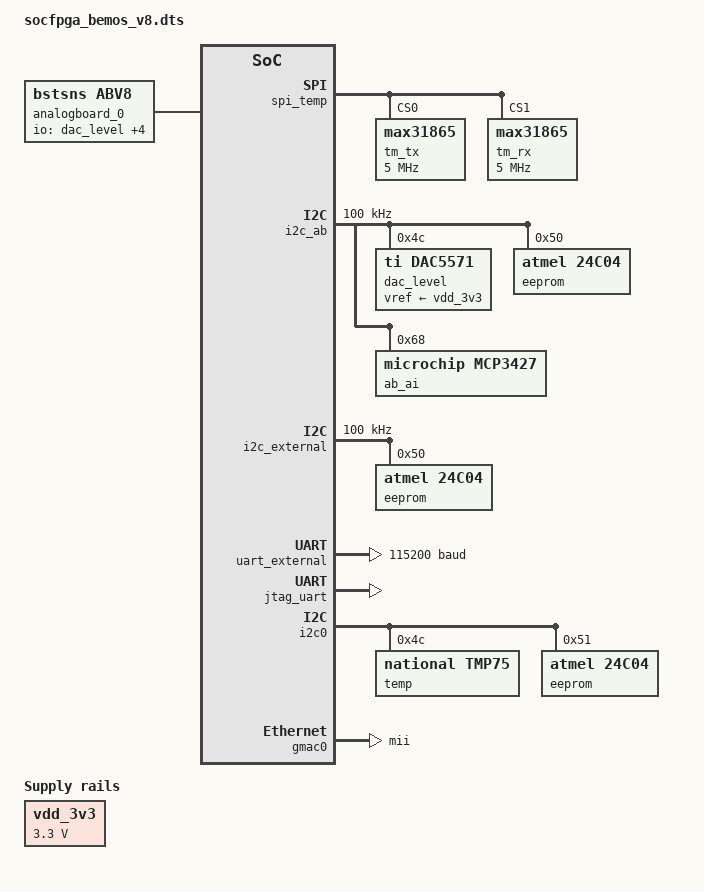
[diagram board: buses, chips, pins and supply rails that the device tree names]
/include/ "socfpga_cyclone5.dts"

/ {
	leds {
		status = "disabled";
	};
	
	soc {
		vdd_3v3: fixedregulator@0 {
			compatible = "regulator-fixed";
			regulator-name = "vdd_3v3";
			regulator-min-microvolt = <3300000>;
			regulator-max-microvolt = <3300000>;
			regulator-always-on;
		};
		
		clocks {
			bone_20: bone_20 {
				compatible = "fixed-clock";
				#clock-cells = <0>;
				clock-frequency = <20000000>;
			};

			bone_50: bone_50 {
				compatible = "fixed-clock";
				#clock-cells = <0>;
				clock-frequency = <50000000>;
			};
		};
		
		spi_temp: spi@ff201060 {
			compatible = "altr,spi-15.1", "altr,spi-1.0";
			reg = <0xff201060 0x20>;
			interrupt-parent = <&intc>;
			interrupts = <0 53 4>;
			clocks = <&bone_20>;
			#address-cells = <1>;
			#size-cells = <0>;
			bus-num = <0>;
			num-chipselect = <2>;
			status = "okay";

			tm_tx: max31865@0 {
				compatible = "max31865";
				reg = <0>;	/* chip select */
				spi-max-frequency = <5000000>;
				enable-dma = <1>;
				#io-channel-cells = <0>;
			};
			
			tm_rx: max31865@1 {
				compatible = "max31865";
				reg = <1>;	/* chip select */
				spi-max-frequency = <5000000>;
				enable-dma = <1>;
				#io-channel-cells = <0>;
			};
		};
		
		analogboard_0: bemos {
			compatible = "bstsns,abv8";

			i2c-external = <&i2c_external>;
			i2c-ab = <&i2c_ab>;

			io-channels = <&dac_level>,
						  <&tm_tx>,
						  <&tm_rx>,
						  <&ab_ai 0>,
						  <&ab_ai 1>;

			io-channel-names = "level",
							   "tm_tx",
							   "tm_rx",
							   "ai0",
							   "ai1";
			
			interrupt-parent = <&intc>;			
			interrupts = <0 41 4>, /* connected */
						 <0 42 4>, /* ks0 */
						 <0 45 4>, /* fifo0 */
						 <0 46 4>, /* fifo1 */
						 <0 47 4>, /* fifo2 */
						 <0 48 4>, /* fifo3 */
						 <0 56 4>, /* ae_dtc */
						 <0 57 4>, /* trigger_in */
						 <0 44 4>; /* ab_pio */
		}; //end bemos (analogboard_0)
		
		i2c_ab: i2c@ff2c0040 {
			compatible = "altr,softip-i2c-v1.0";
			reg = <0xff2c0040 0x40>;
			interrupt-parent = <&intc>;
			interrupts = <0 51 4>;
			clocks = <&bone_50>;
			fifo-size = <4>;
			clock-frequency = <100000>;
			#address-cells = <1>;
			#size-cells = <0>;
			
			dac_level: dac5571@4c {
				compatible = "ti,dac5571";
				reg = <0x4c>;
				vref-supply = <&vdd_3v3>;
				#io-channel-cells = <0>;
			};
			
			eeprom@50 {
				compatible = "atmel,24c04";
				reg = <0x50>;
				pagesize = <16>;
			};
			
			ab_ai: mcp3427@68 {
				compatible = "microchip,mcp3427";
				reg = <0x68>;
				#io-channel-cells = <1>;
			};
		};

		i2c_external: i2c@ff2c0000 {
			compatible = "altr,softip-i2c-v1.0";
			reg = <0xff2c0000 0x40>;
			interrupt-parent = <&intc>;
			interrupts = <0 50 4>;
			clocks = <&bone_50>;
			fifo-size = <4>;
			clock-frequency = <100000>;
			#address-cells = <1>;
			#size-cells = <0>;

			eeprom@50 {
				compatible = "atmel,24c04";
				reg = <0x50>;
				pagesize = <16>;
			};
		};
		
		uart_external: serial@ff290000 {
			compatible = "ALTR,uart-1.0", "altr,uart-1.0";
			reg = <0xff290000 0x20>;
			interrupt-parent = <&intc>;
			interrupts = <0 55 4>;
			current-speed = <115200>;
			clock-frequency = <50000000>;
		};
		
		jtag_uart: serial@ff200008 {
			compatible = "ALTR,juart-13.1", "ALTR,juart-1.0", "altr,juart-1.0";
			reg = <0xff200008 0x8>;
			interrupt-parent = <&intc>;
			interrupts = <0 40 4>;
		};
	};
};

&i2c0 {
	i2c-sda-falling-time-ns = <10000>;
	i2c-scl-falling-time-ns = <10000>;
	
	temp@48 {
		compatible = "national,tmp75";
		reg = <0x4C>;
	};
	
	eeprom@51 {
		compatible = "atmel,24c04";
		reg = <0x51>;
		pagesize = <16>;
	};
	
	lcd: lcd@28 {
		status = "disabled";
	};
};

&uart1 {
	status = "disabled";
};

&gmac0 {
	phy-mode = "mii";
	phy-addr = <0x00>;
	snps,phy-addr = <0x00>;
	rxd0-skew-ps = <0>;
	rxd1-skew-ps = <0>;
	rxd2-skew-ps = <0>;
	rxd3-skew-ps = <0>;
	txen-skew-ps = <0>;
	txc-skew-ps = <2600>;
	rxdv-skew-ps = <0>;
	rxc-skew-ps = <2000>;
	max-frame-size = <3800>;
	status = "okay";
	reset0 = <&agpio0 0 0>;
	reset1 = <&agpio0 1 0>;
};

&gmac1 {
	status = "disabled";
};
